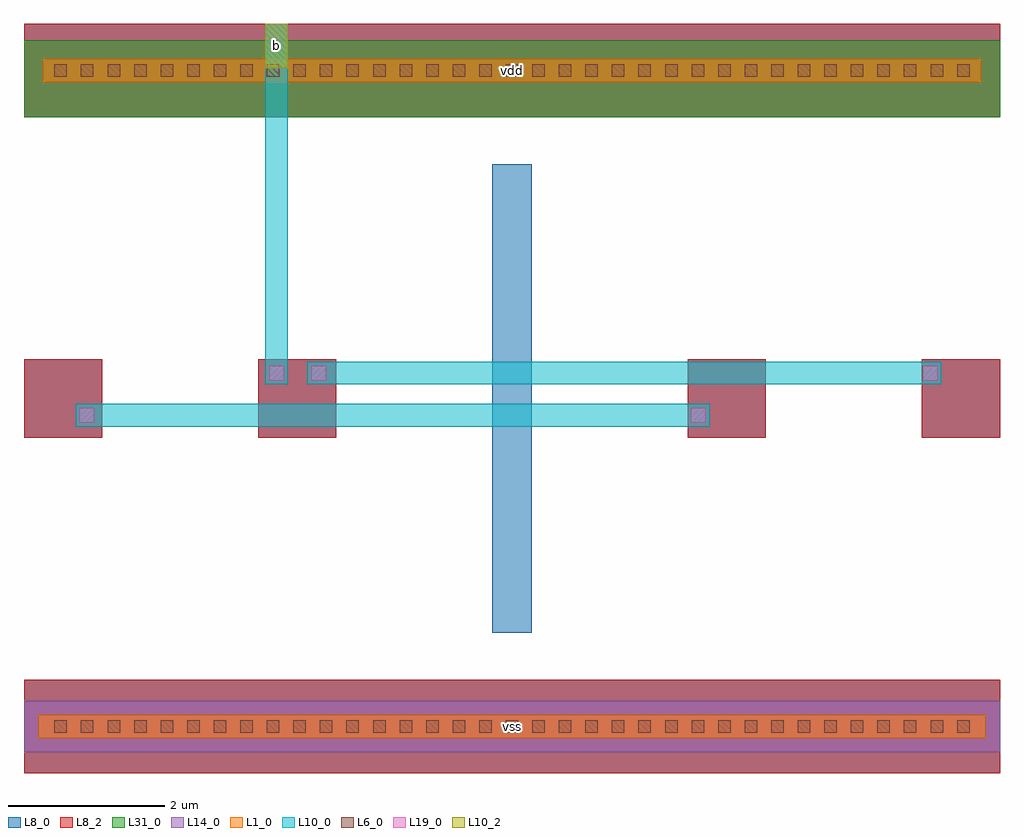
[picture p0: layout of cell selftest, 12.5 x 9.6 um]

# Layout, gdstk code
import gdstk
lib = gdstk.Library(unit=1e-6, precision=1e-09)
def R(c, l, rs):  # rectangles x0, y0, x1, y1
    for r in rs: c.add(gdstk.rectangle(r[:2], r[2:], *l))
def A(c, l, x, y, w, h, nx, ny, dx, dy):  # array of equal rectangles
    R(c, l, [(x+i*dx, y+j*dy, x+i*dx+w, y+j*dy+h) for i in range(nx) for j in range(ny)])
L1_0 = (1, 0)
L6_0 = (6, 0)
L8_0 = (8, 0)
L8_2 = (8, 2)
L10_0 = (10, 0)
L10_2 = (10, 2)
L14_0 = (14, 0)
L19_0 = (19, 0)
L31_0 = (31, 0)

pina = lib.new_cell('pinA')
R(pina, L8_0, [(0,0,1,1)])
R(pina, L8_2, [(0,0,1,1)])
pina.add(gdstk.Label('a', (0.5,0.5), layer=8, texttype=25))

pinc = lib.new_cell('pinC')
R(pinc, L8_0, [(0,0,1,1)])
R(pinc, L8_2, [(0,0,1,1)])
pinc.add(gdstk.Label('b', (0.5,0.5), layer=8, texttype=25))

wall = lib.new_cell('wall')
R(wall, L8_0, [(0,0,0.5,6)])

pinb = lib.new_cell('pinB')
R(pinb, L8_0, [(0,0,1,1)])
R(pinb, L8_2, [(0,0,1,1)])
pinb.add(gdstk.Label('a', (0.5,0.5), layer=8, texttype=25))

pind = lib.new_cell('pinD')
R(pind, L8_0, [(0,0,1,1)])
R(pind, L8_2, [(0,0,1,1)])
pind.add(gdstk.Label('b', (0.5,0.5), layer=8, texttype=25))

selftest = lib.new_cell('selftest')
R(selftest, L1_0, [(0.18,0.45,12.32,0.75), (0.24,8.85,12.26,9.15)])
A(selftest, L6_0, 0.39, 0.52, 0.16, 0.16, 35, 2, 0.34, 8.4)
R(selftest, L8_0, [(0,0,12.5,1.2), (0,8.4,12.5,9.6)])
R(selftest, L8_2, [(0,0,12.5,1.2), (0,8.4,12.5,9.6)])
R(selftest, L10_0, [(0.66,4.44,8.78,4.73), (3.09,4.98,3.38,9.32), (3.63,4.98,11.75,5.27), (3.09,9.03,3.38,9.6)])
R(selftest, L10_2, [(3.09,9.03,3.38,9.6)])
R(selftest, L14_0, [(0,0.27,12.5,0.93)])
R(selftest, L19_0, [(0.71,4.49,0.9,4.68), (8.54,4.49,8.73,4.68), (3.14,5.03,3.33,5.22), (3.68,5.03,3.87,5.22), (11.51,5.03,11.7,5.22)])
R(selftest, L31_0, [(0,8.4,12.5,9.39)])
selftest.add(gdstk.Reference(pina, (0,4.3)))
selftest.add(gdstk.Reference(pinc, (3,4.3)))
selftest.add(gdstk.Reference(wall, (6,1.8)))
selftest.add(gdstk.Reference(pinb, (8.5,4.3)))
selftest.add(gdstk.Reference(pind, (11.5,4.3)))
selftest.add(gdstk.Label('vdd', (6.25,9), layer=8, texttype=25))
selftest.add(gdstk.Label('vss', (6.25,0.6), layer=8, texttype=25))
selftest.add(gdstk.Label('b', (3.235,9.315), layer=10, texttype=25))

lib.write_gds('selftest.gds')
